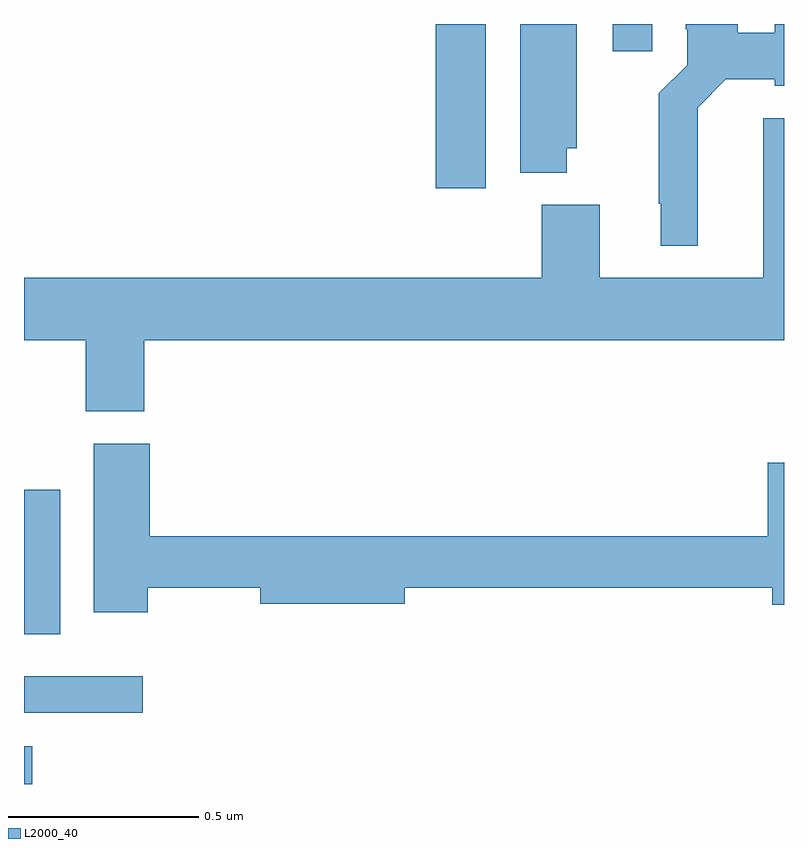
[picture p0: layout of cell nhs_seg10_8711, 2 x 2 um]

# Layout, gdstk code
import gdstk
lib = gdstk.Library(unit=1e-6, precision=1e-09)
def R(c, l, rs):  # rectangles x0, y0, x1, y1
    for r in rs: c.add(gdstk.rectangle(r[:2], r[2:], *l))
def P(c, l, *ps):  # polygons
    for p in ps: c.add(gdstk.Polygon(p, *l))
L2000_40 = (2000, 40)

nhs_seg10_8711 = lib.new_cell('nhs_seg10_8711')
R(nhs_seg10_8711, L2000_40, [(220,1280.5,220.022,1280.599), (220,1280.688,220.312,1280.784), (220,1280.894,220.096,1281.274), (221.084,1282.068,221.215,1282.5), (221.549,1282.428,221.653,1282.5)])
P(nhs_seg10_8711, L2000_40, [(221.428,1282.173),(221.455,1282.173),(221.455,1282.5),(221.306,1282.5),(221.306,1282.109),(221.428,1282.109)],
  [(221.773,1282.28),(221.847,1282.355),(221.976,1282.355),(221.976,1282.337),(222,1282.337),(222,1282.5),(221.976,1282.5),(221.976,1282.477),(221.878,1282.477),(221.878,1282.5),(221.741,1282.5),(221.741,1282.486),(221.745,1282.486),(221.745,1282.392),(221.671,1282.318),(221.671,1282.027),(221.675,1282.027),(221.675,1281.917),(221.773,1281.917)],
  [(220.316,1281.668),(222,1281.668),(222,1282.252),(221.945,1282.252),(221.945,1281.832),(221.515,1281.832),(221.515,1282.024),(221.363,1282.024),(221.363,1281.832),(220,1281.832),(220,1281.668),(220.163,1281.668),(220.163,1281.481),(220.316,1281.481)],
  [(220.326,1281.016),(220.622,1281.016),(220.622,1280.974),(221.002,1280.974),(221.002,1281.016),(221.969,1281.016),(221.969,1280.972),(222,1280.972),(222,1281.346),(221.957,1281.346),(221.957,1281.152),(220.331,1281.152),(220.331,1281.396),(220.184,1281.396),(220.184,1280.952),(220.326,1280.952)])

lib.write_gds('nhs_seg10_8711.gds')
